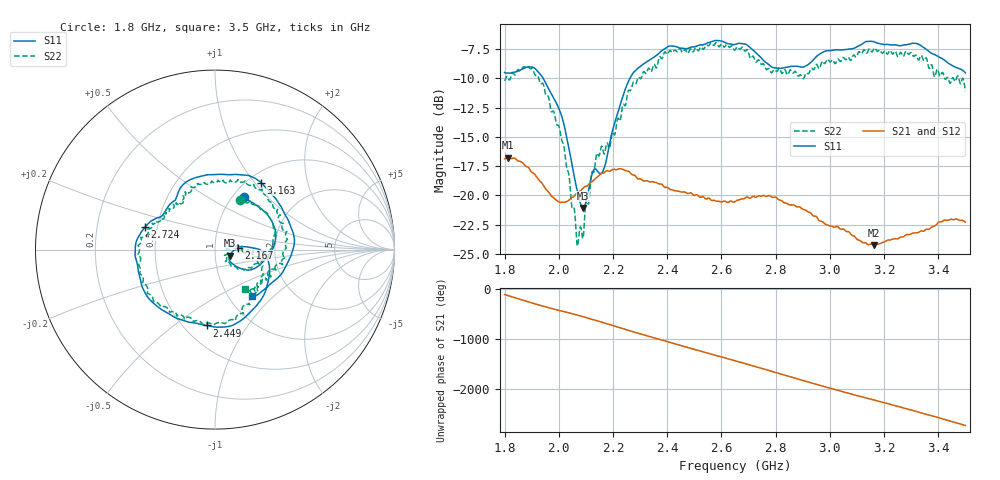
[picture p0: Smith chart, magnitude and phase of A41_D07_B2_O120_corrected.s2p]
! Created with skrf 1.9.0 (http://scikit-rf.org).
# Hz S RI R 50.0
!freq ReS11 ImS11 ReS21 ImS21 ReS12 ImS12 ReS22 ImS22
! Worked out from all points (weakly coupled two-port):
!   1601 points, 1.8 GHz to 3.5 GHz, reference 50 ohm
!   highest |S21| = -16.77 dB at 1.812 GHz (marker M1); lowest = -24.2 dB at 3.163 GHz (marker M2)
!   lowest |S11| = -21.1 dB at 2.09 GHz (marker M3), VSWR 1.19, Z = 58.8 - j3.95 ohm
!   |S11| at or under -10 dB: 1.942 GHz to 2.262 GHz (320.1 MHz wide, 15.2 % of centre)
!   |S22| runs from -24.3 to -7.0 dB; largest |S21 - S12| = 0.0026
!   S11 on the Smith chart (normalised r, x): 1.8 GHz: 1.12, +0.74; 2.167 GHz: 1.30, +0.03; 2.449 GHz: 0.64, -0.66; 2.724 GHz: 0.43, +0.13; 3.163 GHz: 1.15, +1.08; 3.5 GHz: 1.28, -0.75
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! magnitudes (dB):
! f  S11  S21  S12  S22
! 1.8 GHz  -9.5  -16.9  -16.9  -10.2
! 1.812 GHz  -9.6  -16.8  -16.8  -9.9
! 1.882 GHz  -9.1  -17.5  -17.6  -9.0
! 1.941 GHz  -10.0  -19.1  -19.1  -10.4
! 2.011 GHz  -13.3  -20.6  -20.6  -15.3
! 2.067 GHz  -19.5  -19.8  -19.8  -24.1
! 2.084 GHz  -20.9  -19.5  -19.5  -23.0
! 2.09 GHz  -21.1  -19.4  -19.4  -23.6
! 2.135 GHz  -17.7  -18.6  -18.6  -17.2
! 2.167 GHz  -17.7  -18.1  -18.1  -16.4
! 2.204 GHz  -14.0  -17.8  -17.8  -14.8
! 2.259 GHz  -10.2  -18.0  -18.0  -11.0
! 2.367 GHz  -7.9  -19.0  -18.9  -8.5
! 2.449 GHz  -7.4  -19.7  -19.7  -7.5
! 2.65 GHz  -7.1  -20.5  -20.5  -7.6
! 2.724 GHz  -7.8  -20.2  -20.1  -8.5
! 2.797 GHz  -9.1  -20.1  -20.1  -9.3
! 2.934 GHz  -8.6  -21.6  -21.6  -9.1
! 3.163 GHz  -6.9  -24.2  -24.2  -7.4
! 3.217 GHz  -7.1  -23.8  -23.8  -7.7
! 3.324 GHz  -7.1  -23.2  -23.2  -8.3
! 3.5 GHz  -9.5  -22.3  -22.3  -11.1
